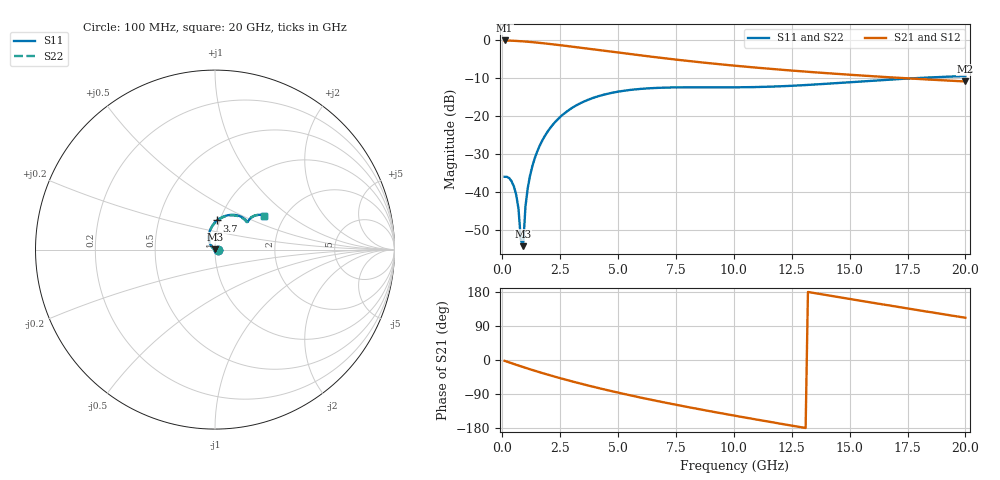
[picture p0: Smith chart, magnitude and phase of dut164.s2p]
! Touchstone file exported from HFSS 2023.1.0
!  File:  D:/Users/fzz/RDL_TSV/temp_RDL_TSV_164_1778753759.aedt
!  Generated:  6:27:22 %x4E0B%x5348  5%x6708 14, 2026
!  Design:  RDL_TSV
!  Project:  temp_RDL_TSV_164_1778753759
!  Setup:  Setup1
!  Solution:  Sweep
! Variables:
!  dtsv = 10.92um
!  hbump = 3um
!  htsv = 87.39um
!  ldown = 303.14um
!  lrdl = 657.26um
!  p = 40
!  p1 = 45.34um
!  rhole = 10um
!  subl = 3538.46um
!  t = 450um
!  tdown = 3.6um
!  trdl = 4.08um
!  viad = 10um
!  wdown = 19.73um
!  wrdl = 21.47um
!  xbump = 18um
# GHz S MA R 50.000000
! Terminal data exported
! Port[1] = TM1_1_T1
! Port[2] = TM1_4_T1
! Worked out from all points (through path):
!   200 points, 100 MHz to 20 GHz, reference 50 ohm
!   highest |S21| = -0.14 dB at 100 MHz (marker M1); lowest = -10.9 dB at 20 GHz (marker M2)
!   group delay of S21, straight-line fit = 32.7 ps
!   lowest |S11| = -54.3 dB at 900 MHz (marker M3), VSWR 1.00, Z = 49.9 + j0.131 ohm
!   |S11| at or under -10 dB: start of sweep to 18.05 GHz
!   |S22| runs from -55.2 to -9.6 dB; largest |S21 - S12| = 1.1e-14
!   S11 on the Smith chart (normalised r, x): 100 MHz: 1.03, +0.00; 3.7 GHz: 0.97, +0.32; 20 GHz: 1.58, +0.68
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0.1  0.01578 0.5  0.9836 -2.2  0.9836 -2.2  0.01579 0.5
! Gamma 0 0 0 0
! Port Impedance 50 0 50 0
0.4  0.01382 -6.3  0.9767 -8.5  0.9767 -8.5  0.01386 -6.3
0.6  0.009161 -12.2  0.9701 -12.6  0.9701 -12.6  0.009245 -12.3
0.7  0.005982 -13.9  0.9661 -14.6  0.9661 -14.6  0.006096 -14.1
0.8  0.002344 -8.9  0.9617 -16.6  0.9617 -16.6  0.002488 -9.9
0.9  0.001928 137.2  0.957 -18.6  0.957 -18.6  0.001746 135.6
1  0.006389 145.7  0.9518 -20.6  0.9518 -20.6  0.006158 145.6
1.1  0.01125 144.7  0.9464 -22.6  0.9464 -22.6  0.01097 144.6
1.3  0.0219 139.9  0.9347 -26.4  0.9347 -26.4  0.02152 139.9
1.5  0.0335 134.5  0.9221 -30.2  0.9221 -30.2  0.03301 134.5
1.9  0.05843 123.9  0.8951 -37.6  0.8951 -37.6  0.0577 123.9
2.3  0.0841 114.1  0.8668 -44.6  0.8668 -44.6  0.08311 114.0
2.8  0.115 103.0  0.8309 -53.0  0.8309 -53.0  0.1137 102.9
3.5  0.1532 89.5  0.7813 -64.1  0.7813 -64.1  0.1514 89.4
3.7  0.1627 86.1  0.7674 -67.2  0.7674 -67.2  0.1608 86.0
5.3  0.2153 64.2  0.6644 -90.2  0.6644 -90.2  0.2125 64.1
6.8  0.2343 51.1  0.5832 -109.6  0.5832 -109.6  0.231 51.1
8.4  0.2378 43.4  0.5137 -128.7  0.5137 -128.7  0.2343 43.5
10.1  0.2377 40.5  0.4559 -147.7  0.4559 -147.7  0.2342 40.7
13.4  0.2577 41.4  0.3765 177.5  0.3765 177.5  0.255 41.7
16.7  0.3 39.7  0.3225 144.0  0.3225 144.0  0.2977 40.0
20  0.3343 34.6  0.2838 111.5  0.2838 111.5  0.332 34.8
